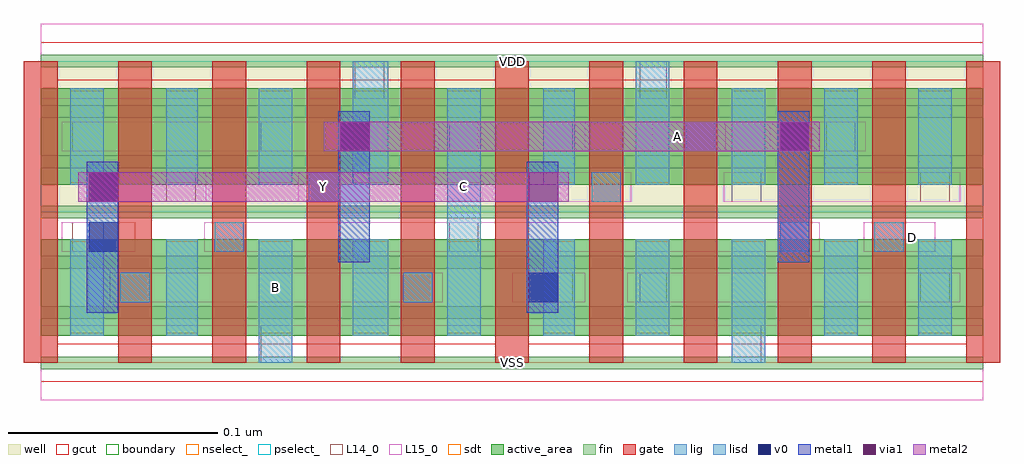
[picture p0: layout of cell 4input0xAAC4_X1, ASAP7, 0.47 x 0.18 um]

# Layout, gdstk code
import gdstk
lib = gdstk.Library(unit=1e-6, precision=1e-09)
def R(c, l, rs):  # rectangles x0, y0, x1, y1
    for r in rs: c.add(gdstk.rectangle(r[:2], r[2:], *l))
def A(c, l, x, y, w, h, nx, ny, dx, dy):  # array of equal rectangles
    R(c, l, [(x+i*dx, y+j*dy, x+i*dx+w, y+j*dy+h) for i in range(nx) for j in range(ny)])
def P(c, l, *ps):  # polygons
    for p in ps: c.add(gdstk.Polygon(p, *l))
well = (1, 0)
fin = (2, 0)
gate = (7, 0)
gcut = (10, 0)
active_area = (11, 0)
nselect_ = (12, 0)
pselect_ = (13, 0)
L14_0 = (14, 0)
L15_0 = (15, 0)
lig = (16, 0)
lisd = (17, 0)
v0 = (18, 0)
metal1 = (19, 0)
metal2 = (20, 0)
via1 = (21, 0)
sdt = (88, 0)
boundary = (100, 0)

c_4input0xaac4_x1 = lib.new_cell('4input0xAAC4_X1')
R(c_4input0xaac4_x1, well, [(0,0.072,0.45,0.144)])
A(c_4input0xaac4_x1, fin, 0, -0.003, 0.45, 0.006, 1, 7, 0, 0.024)
A(c_4input0xaac4_x1, gate, -0.008, 0, 0.016, 0.144, 11, 1, 0.045, 0)
P(c_4input0xaac4_x1, gcut, [(0,-0.009),(0,0),(-0.008,0),(-0.008,0.135),(0.008,0.135),(0.008,0.009),(0.217,0.009),(0.217,0.135),(0.233,0.135),(0.233,0.009),(0.442,0.009),(0.442,0.135),(-0.008,0.135),(-0.008,0.144),(0,0.144),(0,0.153),(0.45,0.153),(0.45,0.144),(0.458,0.144),(0.458,0),(0.45,0),(0.45,-0.009)])
R(c_4input0xaac4_x1, active_area, [(0,0.013,0.45,0.059), (0,0.085,0.45,0.131)])
R(c_4input0xaac4_x1, nselect_, [(0,0,0.45,0.072)])
R(c_4input0xaac4_x1, pselect_, [(0,0.072,0.45,0.144)])
R(c_4input0xaac4_x1, L14_0, [(0.105,0,0.12,0.018), (0.33,0,0.344,0.018), (0.038,0.029,0.052,0.043), (0.173,0.029,0.187,0.043), (0.24,0.029,0.254,0.043), (0.286,0.029,0.299,0.043), (0.42,0.029,0.434,0.043), (0.015,0.053,0.03,0.067), (0.083,0.053,0.097,0.067), (0.195,0.053,0.209,0.067), (0.353,0.053,0.367,0.067), (0.398,0.053,0.412,0.067), (0.06,0.077,0.074,0.091), (0.128,0.077,0.142,0.091), (0.263,0.077,0.277,0.091), (0.33,0.077,0.344,0.091), (0.42,0.077,0.434,0.091), (0.015,0.101,0.03,0.115), (0.105,0.101,0.12,0.115), (0.195,0.101,0.209,0.115), (0.24,0.101,0.254,0.115), (0.308,0.101,0.322,0.115), (0.375,0.101,0.389,0.115), (0.15,0.126,0.164,0.144), (0.286,0.126,0.299,0.144)])
R(c_4input0xaac4_x1, L15_0, [(0,-0.018,0.45,0.018), (0.033,0.029,0.192,0.043), (0.225,0.029,0.26,0.043), (0.28,0.029,0.439,0.043), (0.01,0.053,0.045,0.067), (0.078,0.053,0.372,0.067), (0.393,0.053,0.427,0.067), (0.018,0.077,0.079,0.091), (0.123,0.077,0.282,0.091), (0.326,0.077,0.439,0.091), (0.01,0.101,0.162,0.115), (0.19,0.101,0.26,0.115), (0.292,0.101,0.327,0.115), (0.348,0.101,0.394,0.115), (0,0.126,0.45,0.162)])
R(c_4input0xaac4_x1, lig, [(0.038,0.029,0.052,0.043), (0.173,0.029,0.187,0.043), (0.083,0.053,0.097,0.067), (0.353,0.053,0.367,0.067), (0.398,0.053,0.412,0.067), (0.128,0.077,0.142,0.091), (0.263,0.077,0.277,0.091), (0.308,0.101,0.322,0.115)])
R(c_4input0xaac4_x1, lisd, [(0.104,0,0.12,0.059), (0.33,0,0.346,0.059), (0.014,0.013,0.03,0.059), (0.06,0.013,0.075,0.059), (0.149,0.013,0.166,0.059), (0.194,0.013,0.21,0.131), (0.24,0.013,0.255,0.059), (0.284,0.013,0.3,0.059), (0.374,0.013,0.39,0.059), (0.419,0.013,0.435,0.059), (0.014,0.085,0.03,0.131), (0.06,0.085,0.075,0.131), (0.104,0.085,0.12,0.131), (0.149,0.085,0.166,0.144), (0.24,0.085,0.255,0.131), (0.284,0.085,0.3,0.144), (0.33,0.085,0.346,0.131), (0.374,0.085,0.39,0.131), (0.419,0.085,0.435,0.131)])
R(c_4input0xaac4_x1, v0, [(0.233,0.029,0.247,0.043), (0.023,0.053,0.037,0.067), (0.023,0.077,0.037,0.091), (0.143,0.101,0.157,0.115), (0.353,0.101,0.367,0.115)])
R(c_4input0xaac4_x1, metal1, [(0.022,0.024,0.037,0.096), (0.232,0.024,0.247,0.096), (0.142,0.048,0.157,0.12), (0.352,0.048,0.367,0.12)])
R(c_4input0xaac4_x1, metal2, [(0.018,0.077,0.252,0.091), (0.135,0.101,0.372,0.115)])
R(c_4input0xaac4_x1, via1, [(0.023,0.077,0.037,0.091), (0.233,0.077,0.247,0.091), (0.143,0.101,0.157,0.115), (0.353,0.101,0.367,0.115)])
A(c_4input0xaac4_x1, sdt, 0.014, 0.014, 0.016, 0.044, 4, 2, 0.09, 0.072)
R(c_4input0xaac4_x1, sdt, [(0.06,0.014,0.075,0.058), (0.149,0.014,0.166,0.058), (0.24,0.014,0.255,0.058), (0.33,0.014,0.346,0.058), (0.374,0.014,0.39,0.058), (0.419,0.014,0.435,0.058), (0.06,0.086,0.075,0.13), (0.149,0.086,0.166,0.13), (0.24,0.086,0.255,0.13), (0.33,0.086,0.346,0.13), (0.374,0.086,0.39,0.13), (0.419,0.086,0.435,0.13)])
R(c_4input0xaac4_x1, boundary, [(0,0,0.45,0.144)])
c_4input0xaac4_x1.add(gdstk.Label('C', (0.202,0.084), layer=15, texttype=251))
c_4input0xaac4_x1.add(gdstk.Label('VSS', (0.225,0), layer=15, texttype=251))
c_4input0xaac4_x1.add(gdstk.Label('VDD', (0.225,0.144), layer=15, texttype=251))
c_4input0xaac4_x1.add(gdstk.Label('A', (0.304,0.108), layer=15, texttype=251))
c_4input0xaac4_x1.add(gdstk.Label('VSS', (0.225,0), layer=15, texttype=251))
c_4input0xaac4_x1.add(gdstk.Label('VDD', (0.225,0.144), layer=15, texttype=251))
c_4input0xaac4_x1.add(gdstk.Label('B', (0.112,0.036), layer=15, texttype=251))
c_4input0xaac4_x1.add(gdstk.Label('VSS', (0.225,0), layer=15, texttype=251))
c_4input0xaac4_x1.add(gdstk.Label('VDD', (0.225,0.144), layer=15, texttype=251))
c_4input0xaac4_x1.add(gdstk.Label('VSS', (0.225,0), layer=15, texttype=251))
c_4input0xaac4_x1.add(gdstk.Label('VDD', (0.225,0.144), layer=15, texttype=251))
c_4input0xaac4_x1.add(gdstk.Label('D', (0.416,0.06), layer=15, texttype=251))
c_4input0xaac4_x1.add(gdstk.Label('VSS', (0.225,0), layer=15, texttype=251))
c_4input0xaac4_x1.add(gdstk.Label('VDD', (0.225,0.144), layer=15, texttype=251))
c_4input0xaac4_x1.add(gdstk.Label('VSS', (0.225,0), layer=3, texttype=251))
c_4input0xaac4_x1.add(gdstk.Label('VSS', (0.225,0), layer=3, texttype=251))
c_4input0xaac4_x1.add(gdstk.Label('VSS', (0.225,0), layer=3, texttype=251))
c_4input0xaac4_x1.add(gdstk.Label('VSS', (0.225,0), layer=3, texttype=251))
c_4input0xaac4_x1.add(gdstk.Label('VSS', (0.225,0), layer=3, texttype=251))
c_4input0xaac4_x1.add(gdstk.Label('VDD', (0.225,0.144), layer=1, texttype=251))
c_4input0xaac4_x1.add(gdstk.Label('VDD', (0.225,0.144), layer=1, texttype=251))
c_4input0xaac4_x1.add(gdstk.Label('VDD', (0.225,0.144), layer=1, texttype=251))
c_4input0xaac4_x1.add(gdstk.Label('VDD', (0.225,0.144), layer=1, texttype=251))
c_4input0xaac4_x1.add(gdstk.Label('VDD', (0.225,0.144), layer=1, texttype=251))
c_4input0xaac4_x1.add(gdstk.Label('Y', (0.135,0.084), layer=20, texttype=251))

lib.write_gds('4input0xAAC4_X1.gds')
